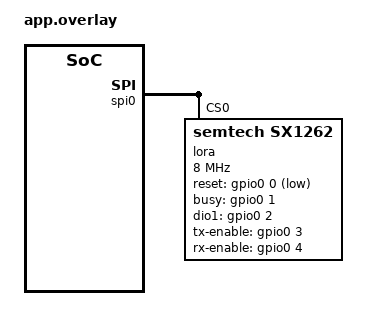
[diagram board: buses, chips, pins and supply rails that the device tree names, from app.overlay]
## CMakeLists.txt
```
# Copyright (c) 2026 Embeint Inc
# SPDX-License-Identifier: Apache-2.0

cmake_minimum_required(VERSION 3.20.0)
find_package(Zephyr REQUIRED HINTS $ENV{ZEPHYR_BASE})
project(lora_sx126x_emul)

target_sources(app PRIVATE src/main.c)
```

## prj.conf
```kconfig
# Copyright (c) 2026 Embeint Inc
# SPDX-License-Identifier: Apache-2.0

CONFIG_ZTEST=y
CONFIG_EMUL=y
CONFIG_GPIO=y
CONFIG_SPI=y
CONFIG_LORA=y
CONFIG_LORA_MODULE_BACKEND_NATIVE=y
CONFIG_LORA_GFSK=y
CONFIG_LOG=y
```

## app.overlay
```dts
/*
 * Copyright (c) 2026 Embeint Inc
 * SPDX-License-Identifier: Apache-2.0
 */

#include <zephyr/dt-bindings/lora/sx126x.h>

/ {
	aliases {
		lora0 = &lora;
	};
};

&spi0 {
	lora: lora@0 {
		compatible = "semtech,sx1262";
		reg = <0>;
		spi-max-frequency = <8000000>;
		reset-gpios = <&gpio0 0 GPIO_ACTIVE_LOW>;
		busy-gpios = <&gpio0 1 GPIO_ACTIVE_HIGH>;
		dio1-gpios = <&gpio0 2 GPIO_ACTIVE_HIGH>;
		tx-enable-gpios = <&gpio0 3 GPIO_ACTIVE_HIGH>;
		rx-enable-gpios = <&gpio0 4 GPIO_ACTIVE_HIGH>;
		dio3-tcxo-voltage = <SX126X_DIO3_TCXO_1V8>;
		tcxo-power-startup-delay-ms = <5>;
		rx-boosted;
		status = "okay";
	};
};
```

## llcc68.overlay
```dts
/*
 * Copyright (c) 2026 Embeint Inc
 * SPDX-License-Identifier: Apache-2.0
 */

&lora {
	compatible = "semtech,llcc68";
};
```

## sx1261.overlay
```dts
/*
 * Copyright (c) 2026 Embeint Inc
 * SPDX-License-Identifier: Apache-2.0
 */

&lora {
	compatible = "semtech,sx1261";
};
```

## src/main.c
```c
/*
 * Copyright (c) 2026 Embeint Inc
 * SPDX-License-Identifier: Apache-2.0
 */

#include <string.h>

#include <zephyr/device.h>
#include <zephyr/drivers/emul.h>
#include <zephyr/drivers/gpio.h>
#include <zephyr/drivers/gpio/gpio_emul.h>
#include <zephyr/drivers/lora.h>
#include <zephyr/drivers/lora/sx126x_emul.h>
#include <zephyr/drivers/spi.h>
#include <zephyr/dt-bindings/lora/sx126x.h>
#include <zephyr/sys/byteorder.h>
#include <zephyr/ztest.h>

#define LORA_NODE DT_ALIAS(lora0)
#define IS_SX1261 DT_NODE_HAS_COMPAT(LORA_NODE, semtech_sx1261)
#define IS_LLCC68 DT_NODE_HAS_COMPAT(LORA_NODE, semtech_llcc68)

#define REST_MODE                                                                                  \
	(IS_ENABLED(CONFIG_LORA_SX126X_NATIVE_SLEEP) ? SX126X_EMUL_MODE_SLEEP                      \
						     : SX126X_EMUL_MODE_STDBY_RC)

/* IRQs the driver routes to DIO1: TX done, RX done, CRC error and timeout */
#define DRIVER_IRQ_MASK (BIT(0) | BIT(1) | BIT(6) | BIT(9))

/* Register addresses from the datasheet */
#define REG_RETENTION_LIST 0x029F
#define REG_RX_GAIN        0x08AC
#define REG_TX_MODULATION  0x0889

/* Opcodes and IRQs from the datasheet */
#define OP_SET_STANDBY 0x80
#define OP_SET_TX      0x83
#define IRQ_TX_DONE    BIT(0)
#define IRQ_RX_DONE    BIT(1)

#define RX_GAIN_BOOSTED     0x96
#define TX_MODULATION_BIT   BIT(2)
#define IQ_POLARITY_BIT     BIT(2)
#define RAMP_200_US         0x04
#define GFSK_PULSE_BT_05    0x09
#define GFSK_PREAMBLE_DET_8 0x04
#define GFSK_CRC_2_BYTE_INV 0x06

static const struct device *const lora_dev = DEVICE_DT_GET(LORA_NODE);
static const struct emul *const lora_emul = EMUL_DT_GET(LORA_NODE);
static const struct gpio_dt_spec tx_enable = GPIO_DT_SPEC_GET(LORA_NODE, tx_enable_gpios);
static const struct gpio_dt_spec rx_enable = GPIO_DT_SPEC_GET(LORA_NODE, rx_enable_gpios);
static const struct gpio_dt_spec busy = GPIO_DT_SPEC_GET(LORA_NODE, busy_gpios);

/* Captured before the first test clears the counter */
static uint32_t boot_errors;

struct recv_ctx {
	struct k_sem sem;
	uint8_t data[SX126X_EMUL_MAX_PAYLOAD];
	uint16_t len;
	int16_t rssi;
	int8_t snr;
};

static void recv_cb(const struct device *dev, uint8_t *data, uint16_t size, int16_t rssi,
		    int8_t snr, void *user_data)
{
	struct recv_ctx *ctx = user_data;

	ARG_UNUSED(dev);

	memcpy(ctx->data, data, MIN(size, sizeof(ctx->data)));
	ctx->len = size;
	ctx->rssi = rssi;
	ctx->snr = snr;
	k_sem_give(&ctx->sem);
}

static void lora_cfg_default(struct lora_modem_config *cfg)
{
	*cfg = (struct lora_modem_config){
		.frequency = 868100000,
		.bandwidth = BW_125_KHZ,
		.datarate = SF_7,
		.coding_rate = CR_4_5,
		.preamble_len = 8,
		.tx_power = 14,
		.tx = true,
		.public_network = true,
	};
}

static void lora_configure_default(void)
{
	struct lora_modem_config cfg;

	lora_cfg_default(&cfg);
	zassert_ok(lora_config(lora_dev, &cfg));
}

static void rx_packet_queue(const char *payload, int16_t rssi, int8_t snr, bool crc_error)
{
	struct sx126x_emul_rx_packet pkt = {
		.len = strlen(payload),
		.rssi = rssi,
		.snr = snr,
		.crc_error = crc_error,
	};

	memcpy(pkt.data, payload, pkt.len);
	zassert_ok(sx126x_emul_rx_packet_set(lora_emul, &pkt));
}

/* Raises IRQs once, as the next instance of an opcode completes */
struct cmd_hook {
	uint8_t opcode;
	uint16_t irq;
	uint32_t seen;
	uint8_t params[4];
	bool fired;
};

static uint16_t cmd_hook_cb(const struct emul *target, uint8_t opcode, const uint8_t *params,
			    size_t len, void *user_data)
{
	struct cmd_hook *hook = user_data;

	ARG_UNUSED(target);

	if (opcode != hook->opcode) {
		return 0;
	}

	hook->seen++;
	memcpy(hook->params, params, MIN(len, sizeof(hook->params)));
	if (hook->fired) {
		return 0;
	}

	hook->fired = true;
	return hook->irq;
}

static void noop_work_handler(struct k_work *work)
{
	ARG_UNUSED(work);
}

/* Interrupt work left behind by the driver must not hold up the workqueue */
static void workq_assert_responsive(void)
{
	struct k_work work;
	struct k_work_sync sync;
	int64_t start = k_uptime_get();

	k_work_init(&work, noop_work_handler);
	zassert_true(k_work_submit(&work) >= 0);
	(void)k_work_flush(&work, &sync);
	zassert_true(k_uptime_get() - start < 100, "System workqueue stalled for %lld ms",
		     k_uptime_get() - start);
}

static void radio_assert_rested(void)
{
	/* Let any interrupt work still in flight finish */
	k_msleep(10);

	zassert_equal(sx126x_emul_mode_get(lora_emul), REST_MODE, "Radio in mode %d",
		      sx126x_emul_mode_get(lora_emul));
	zassert_equal(gpio_emul_output_get_dt(&tx_enable), 0, "TX path left enabled");
	zassert_equal(gpio_emul_output_get_dt(&rx_enable), 0, "RX path left enabled");
	zassert_equal(sx126x_emul_errors_get(lora_emul), 0, "Emulator reported protocol errors");
}

ZTEST(sx126x_emul, test_init)
{
	struct sx126x_emul_radio radio;
	uint8_t retention[5];

	zassert_equal(boot_errors, 0, "Protocol errors during driver init");

	sx126x_emul_radio_get(lora_emul, &radio);
	zassert_equal(radio.packet_type, SX126X_EMUL_PACKET_TYPE_LORA);
	zassert_true(radio.dcdc, "DC-DC regulator not selected");
	zassert_true(radio.tcxo, "TCXO not configured");
	zassert_equal(radio.tcxo_voltage, SX126X_DIO3_TCXO_1V8);
	zassert_false(radio.dio2_rf_switch);
	zassert_equal(radio.irq_mask, DRIVER_IRQ_MASK);
	zassert_equal(radio.dio1_mask, DRIVER_IRQ_MASK);

	/* RX gain and TX modulation survive warm-start sleep */
	zassert_ok(sx126x_emul_reg_read(lora_emul, REG_RETENTION_LIST, retention,
					sizeof(retention)));
	zassert_equal(retention[0], 2);
	zassert_equal(sys_get_be16(&retention[1]), REG_RX_GAIN);
	zassert_equal(sys_get_be16(&retention[3]), REG_TX_MODULATION);

	radio_assert_rested();
}

ZTEST(sx126x_emul, test_config_lora)
{
	struct lora_modem_config cfg;
	struct sx126x_emul_radio radio;

	lora_cfg_default(&cfg);
	zassert_ok(lora_config(lora_dev, &cfg));

	sx126x_emul_radio_get(lora_emul, &radio);
	zassert_equal(radio.packet_type, SX126X_EMUL_PACKET_TYPE_LORA);
	zassert_within(radio.frequency, 868100000, 1);
	zassert_equal(radio.lora.sf, 7);
	zassert_equal(radio.lora.bandwidth, 125000);
	zassert_equal(radio.lora.cr, 5);
	zassert_false(radio.lora.ldro);
	zassert_equal(radio.lora.sync_word, 0x3444);
	zassert_equal(radio.tx_power, 14);
	zassert_equal(radio.ramp_time, RAMP_200_US);
	if (IS_SX1261) {
		zassert_equal(radio.pa.duty_cycle, 0x04);
		zassert_equal(radio.pa.hp_max, 0x00);
		zassert_equal(radio.pa.device_sel, 1);
	} else {
		zassert_equal(radio.pa.duty_cycle, 0x04);
		zassert_equal(radio.pa.hp_max, 0x07);
		zassert_equal(radio.pa.device_sel, 0);
	}
	zassert_equal(radio.pa.pa_lut, 1);
	/* Read after the driver put the radio back to sleep: retained */
	zassert_equal(radio.rx_gain, RX_GAIN_BOOSTED);

	cfg.public_network = false;
	zassert_ok(lora_config(lora_dev, &cfg));
	sx126x_emul_radio_get(lora_emul, &radio);
	zassert_equal(radio.lora.sync_word, 0x1424);

	cfg.sync_word = 0x56;
	zassert_ok(lora_config(lora_dev, &cfg));
	sx126x_emul_radio_get(lora_emul, &radio);
	zassert_equal(radio.lora.sync_word, 0x5464);

	/* Output power is clamped to what the PA can deliver */
	cfg.tx_power = 30;
	zassert_ok(lora_config(lora_dev, &cfg));
	sx126x_emul_radio_get(lora_emul, &radio);
	zassert_equal(radio.tx_power, IS_SX1261 ? 14 : 22);

	if (!IS_LLCC68) {
		cfg.datarate = SF_12;
		zassert_ok(lora_config(lora_dev, &cfg));
		sx126x_emul_radio_get(lora_emul, &radio);
		zassert_equal(radio.lora.sf, 12);
		zassert_true(radio.lora.ldro, "LDRO required at SF12/125 kHz");
	} else {
		cfg.datarate = SF_12;
		zassert_equal(lora_config(lora_dev, &cfg), -EINVAL);
	}

	radio_assert_rested();
}

ZTEST(sx126x_emul, test_send)
{
	static const uint8_t payload[] = "hello sx126x";
	struct sx126x_emul_tx_packet pkt;
	struct sx126x_emul_stats stats;

	lora_configure_default();
	zassert_ok(lora_send(lora_dev, (uint8_t *)payload, sizeof(payload)));

	zassert_ok(sx126x_emul_last_tx_get(lora_emul, &pkt));
	zassert_equal(pkt.len, sizeof(payload));
	zassert_mem_equal(pkt.data, payload, sizeof(payload));
	zassert_equal(pkt.radio.packet_type, SX126X_EMUL_PACKET_TYPE_LORA);
	zassert_within(pkt.radio.frequency, 868100000, 1);
	zassert_equal(pkt.radio.lora.preamble_len, 8);
	zassert_false(pkt.radio.lora.implicit_header);
	zassert_equal(pkt.radio.lora.payload_len, sizeof(payload));
	zassert_true(pkt.radio.lora.crc);
	zassert_false(pkt.radio.lora.iq_inverted);
	zassert_true((pkt.radio.tx_modulation & TX_MODULATION_BIT) != 0);
	zassert_true((pkt.radio.iq_polarity & IQ_POLARITY_BIT) != 0);
	zassert_not_equal(pkt.timeout, 0, "No TX timeout armed");

	sx126x_emul_stats_get(lora_emul, &stats);
	zassert_equal(stats.tx_starts, 1);
	zassert_equal(stats.tx_done, 1);

	radio_assert_rested();
}

ZTEST(sx126x_emul, test_send_bw500)
{
	static const uint8_t payload[] = {0x01, 0x02, 0x03};
	struct lora_modem_config cfg;
	struct sx126x_emul_tx_packet pkt;

	lora_cfg_default(&cfg);
	cfg.bandwidth = BW_500_KHZ;
	zassert_ok(lora_config(lora_dev, &cfg));
	zassert_ok(lora_send(lora_dev, (uint8_t *)payload, sizeof(payload)));

	zassert_ok(sx126x_emul_last_tx_get(lora_emul, &pkt));
	zassert_equal(pkt.radio.lora.bandwidth, 500000);
	zassert_true((pkt.radio.tx_modulation & TX_MODULATION_BIT) == 0,
		     "500 kHz workaround not applied");

	radio_assert_rested();
}

ZTEST(sx126x_emul, test_send_implicit_header)
{
	static const uint8_t payload[] = {0xA0, 0xA1, 0xA2, 0xA3};
	struct lora_modem_config cfg;
	struct sx126x_emul_tx_packet pkt;

	lora_cfg_default(&cfg);
	cfg.explicit_header_disable = true;
	cfg.implicit_packet_length = sizeof(payload);
	zassert_ok(lora_config(lora_dev, &cfg));

	zassert_equal(lora_send(lora_dev, (uint8_t *)payload, sizeof(payload) - 1), -EINVAL);
	zassert_ok(lora_send(lora_dev, (uint8_t *)payload, sizeof(payload)));

	zassert_ok(sx126x_emul_last_tx_get(lora_emul, &pkt));
	zassert_true(pkt.radio.lora.implicit_header);
	zassert_equal(pkt.radio.lora.payload_len, sizeof(payload));
	zassert_mem_equal(pkt.data, payload, sizeof(payload));

	radio_assert_rested();
}

ZTEST(sx126x_emul, test_send_async)
{
	static const uint8_t payload[] = {0x10, 0x20, 0x30, 0x40, 0x50};
	struct k_poll_signal sig;
	struct k_poll_event evt =
		K_POLL_EVENT_INITIALIZER(K_POLL_TYPE_SIGNAL, K_POLL_MODE_NOTIFY_ONLY, &sig);
	unsigned int signaled;
	int result;

	k_poll_signal_init(&sig);
	lora_configure_default();

	zassert_ok(lora_send_async(lora_dev, (uint8_t *)payload, sizeof(payload), &sig));
	zassert_ok(k_poll(&evt, 1, K_SECONDS(1)));
	k_poll_signal_check(&sig, &signaled, &result);
	zassert_equal(signaled, 1);
	zassert_ok(result);

	radio_assert_rested();
}

ZTEST(sx126x_emul, test_recv)
{
	static const char payload[] = "downlink";
	struct lora_modem_config cfg;
	struct sx126x_emul_radio radio;
	uint8_t buf[32];
	int16_t rssi;
	int8_t snr;

	lora_cfg_default(&cfg);
	cfg.tx = false;
	cfg.iq_inverted = true;
	zassert_ok(lora_config(lora_dev, &cfg));

	rx_packet_queue(payload, -87, 6, false);
	zassert_equal(lora_recv(lora_dev, buf, sizeof(buf), K_SECONDS(1), &rssi, &snr),
		      strlen(payload));
	zassert_mem_equal(buf, payload, strlen(payload));
	zassert_equal(rssi, -87);
	zassert_equal(snr, 6);

	zassert_ok(sx126x_emul_last_rx_get(lora_emul, &radio));
	zassert_true(radio.lora.iq_inverted);
	zassert_true((radio.iq_polarity & IQ_POLARITY_BIT) == 0, "Inverted IQ workaround");
	zassert_equal(radio.rx_gain, RX_GAIN_BOOSTED, "RX gain lost across sleep");

	radio_assert_rested();
}

ZTEST(sx126x_emul, test_recv_timeout)
{
	uint8_t buf[16];

	lora_configure_default();
	zassert_equal(lora_recv(lora_dev, buf, sizeof(buf), K_MSEC(50), NULL, NULL), -EAGAIN);

	radio_assert_rested();
}

ZTEST(sx126x_emul, test_recv_crc_error)
{
	uint8_t buf[16];

	lora_configure_default();
	rx_packet_queue("corrupt", -100, -5, true);
	zassert_equal(lora_recv(lora_dev, buf, sizeof(buf), K_SECONDS(1), NULL, NULL), -EIO);

	radio_assert_rested();
}

ZTEST(sx126x_emul, test_recv_forever)
{
	static const char payload[] = "no timeout";
	uint8_t buf[16];

	lora_configure_default();
	rx_packet_queue(payload, -60, 10, false);
	zassert_equal(lora_recv(lora_dev, buf, sizeof(buf), K_FOREVER, NULL, NULL),
		      strlen(payload));
	zassert_mem_equal(buf, payload, strlen(payload));

	radio_assert_rested();
}

ZTEST(sx126x_emul, test_recv_async)
{
	static const char *const payloads[] = {"first", "second packet"};
	struct sx126x_emul_stats stats;
	struct recv_ctx ctx;

	k_sem_init(&ctx.sem, 0, 1);
	lora_configure_default();

	zassert_ok(lora_recv_async(lora_dev, recv_cb, &ctx));
	zassert_equal(sx126x_emul_mode_get(lora_emul), SX126X_EMUL_MODE_RX);
	zassert_equal(gpio_emul_output_get_dt(&rx_enable), 1, "RX path not enabled");
	zassert_equal(gpio_emul_output_get_dt(&tx_enable), 0, "TX path enabled while receiving");

	ARRAY_FOR_EACH(payloads, i) {
		rx_packet_queue(payloads[i], -70 - (int16_t)i, 5, false);
		zassert_ok(k_sem_take(&ctx.sem, K_SECONDS(1)), "Packet %zu not delivered", i);
		zassert_equal(ctx.len, strlen(payloads[i]));
		zassert_mem_equal(ctx.data, payloads[i], ctx.len);
		zassert_equal(ctx.rssi, -70 - (int16_t)i);
		zassert_equal(ctx.snr, 5);
	}

	/* A corrupted packet is dropped and reception continues */
	rx_packet_queue("bad", -70, 5, true);
	zassert_equal(k_sem_take(&ctx.sem, K_MSEC(50)), -EAGAIN);
	zassert_equal(sx126x_emul_mode_get(lora_emul), SX126X_EMUL_MODE_RX);

	/* Continuous reception carries on without being restarted */
	sx126x_emul_stats_get(lora_emul, &stats);
	zassert_equal(stats.rx_starts, 1);

	zassert_ok(lora_recv_async(lora_dev, NULL, NULL));

	radio_assert_rested();
}

ZTEST(sx126x_emul, test_rssi)
{
	struct recv_ctx ctx;
	int16_t rssi;

	k_sem_init(&ctx.sem, 0, 1);
	lora_configure_default();

	zassert_ok(lora_recv_async(lora_dev, recv_cb, &ctx));
	sx126x_emul_rssi_set(lora_emul, -95);
	zassert_ok(lora_rssi(lora_dev, &rssi));
	zassert_equal(rssi, -95);
	zassert_ok(lora_recv_async(lora_dev, NULL, NULL));

	sx126x_emul_rssi_set(lora_emul, -60);
	zassert_equal(lora_energy_detect(lora_dev, -80, K_MSEC(20)), 1);
	sx126x_emul_rssi_set(lora_emul, -110);
	zassert_equal(lora_energy_detect(lora_dev, -80, K_MSEC(20)), 0);

	radio_assert_rested();
}

ZTEST(sx126x_emul, test_duty_cycle)
{
	static const char payload[] = "wake up";
	struct sx126x_emul_stats stats;
	uint8_t buf[16];
	int16_t rssi;
	int8_t snr;

	lora_configure_default();
	rx_packet_queue(payload, -90, 3, false);
	zassert_equal(lora_recv_duty_cycle(lora_dev, K_MSEC(10), K_MSEC(90), buf, sizeof(buf),
					   K_SECONDS(1), &rssi, &snr),
		      strlen(payload));
	zassert_mem_equal(buf, payload, strlen(payload));
	zassert_equal(rssi, -90);
	zassert_equal(snr, 3);

	sx126x_emul_stats_get(lora_emul, &stats);
	zassert_equal(stats.rx_starts, 1);
	zassert_equal(stats.rx_done, 1);

	radio_assert_rested();
}

ZTEST(sx126x_emul, test_duty_cycle_timeout)
{
	uint8_t buf[16];

	lora_configure_default();
	zassert_equal(lora_recv_duty_cycle(lora_dev, K_MSEC(10), K_MSEC(90), buf, sizeof(buf),
					   K_MSEC(50), NULL, NULL),
		      -EAGAIN);

	radio_assert_rested();
}

ZTEST(sx126x_emul, test_duty_cycle_async)
{
	static const char *const payloads[] = {"one", "two"};
	struct sx126x_emul_stats stats;
	struct recv_ctx ctx;

	k_sem_init(&ctx.sem, 0, 1);
	lora_configure_default();

	zassert_ok(lora_recv_duty_cycle_async(lora_dev, K_MSEC(10), K_MSEC(90), recv_cb, &ctx));
	zassert_equal(sx126x_emul_mode_get(lora_emul), SX126X_EMUL_MODE_RX_DUTY_CYCLE);

	ARRAY_FOR_EACH(payloads, i) {
		rx_packet_queue(payloads[i], -75, 4, false);
		zassert_ok(k_sem_take(&ctx.sem, K_SECONDS(1)), "Packet %zu not delivered", i);
		zassert_equal(ctx.len, strlen(payloads[i]));
		zassert_mem_equal(ctx.data, payloads[i], ctx.len);
		/* The radio re-enters the duty cycle after every packet */
		k_msleep(5);
		zassert_equal(sx126x_emul_mode_get(lora_emul), SX126X_EMUL_MODE_RX_DUTY_CYCLE);
	}

	zassert_ok(lora_recv_duty_cycle_async(lora_dev, K_NO_WAIT, K_NO_WAIT, NULL, NULL));

	sx126x_emul_stats_get(lora_emul, &stats);
	zassert_equal(stats.rx_done, ARRAY_SIZE(payloads));

	radio_assert_rested();
}

ZTEST(sx126x_emul, test_cw)
{
	struct sx126x_emul_radio radio;

	lora_configure_default();
	zassert_ok(lora_test_cw(lora_dev, 868500000, 10, 1));

	sx126x_emul_radio_get(lora_emul, &radio);
	zassert_within(radio.frequency, 868500000, 1);
	zassert_equal(radio.tx_power, 10);

	radio_assert_rested();
}

ZTEST(sx126x_emul, test_gfsk)
{
	static const uint8_t payload[] = {0xDE, 0xAD, 0xBE, 0xEF, 0x42};
	struct lora_modem_config_gfsk cfg = {
		.frequency = 868300000,
		.bitrate = 50000,
		.freq_deviation = 25000,
		.bandwidth = 117300,
		.pulse_shape = LORA_GFSK_PULSE_SHAPE_BT_0_5,
		.sync_word = {0xC1, 0x94, 0xC1},
		.sync_word_len = 3,
		.preamble_len = 5,
		.tx_power = 14,
		.tx = true,
		.whitening = true,
	};
	struct sx126x_emul_tx_packet pkt;
	uint8_t buf[16];
	int16_t rssi;
	int8_t snr;

	Z_TEST_SKIP_IFNDEF(CONFIG_LORA_GFSK);

	zassert_ok(lora_config_gfsk(lora_dev, &cfg));
	zassert_ok(lora_send(lora_dev, (uint8_t *)payload, sizeof(payload)));

	zassert_ok(sx126x_emul_last_tx_get(lora_emul, &pkt));
	zassert_equal(pkt.radio.packet_type, SX126X_EMUL_PACKET_TYPE_GFSK);
	zassert_within(pkt.radio.frequency, 868300000, 1);
	zassert_equal(pkt.radio.gfsk.bitrate, 50000);
	zassert_within(pkt.radio.gfsk.freq_deviation, 25000, 1);
	zassert_equal(pkt.radio.gfsk.bandwidth, 117300);
	zassert_equal(pkt.radio.gfsk.pulse_shape, GFSK_PULSE_BT_05);
	zassert_equal(pkt.radio.gfsk.preamble_bits, 40);
	zassert_equal(pkt.radio.gfsk.preamble_detect, GFSK_PREAMBLE_DET_8);
	zassert_equal(pkt.radio.gfsk.sync_word_bits, 24);
	zassert_mem_equal(pkt.radio.gfsk.sync_word, cfg.sync_word, 3);
	zassert_true(pkt.radio.gfsk.variable_len);
	zassert_equal(pkt.radio.gfsk.payload_len, sizeof(payload));
	zassert_equal(pkt.radio.gfsk.crc_type, GFSK_CRC_2_BYTE_INV);
	zassert_equal(pkt.radio.gfsk.crc_init, 0x1D0F);
	zassert_equal(pkt.radio.gfsk.crc_poly, 0x1021);
	zassert_true(pkt.radio.gfsk.whitening);
	zassert_equal(pkt.radio.gfsk.whitening_init, 0x01FF);
	zassert_true((pkt.radio.tx_modulation & TX_MODULATION_BIT) != 0);
	zassert_equal(pkt.len, sizeof(payload));
	zassert_mem_equal(pkt.data, payload, sizeof(payload));

	rx_packet_queue("gfsk rx", -70, 0, false);
	zassert_equal(lora_recv(lora_dev, buf, sizeof(buf), K_SECONDS(1), &rssi, &snr),
		      strlen("gfsk rx"));
	zassert_mem_equal(buf, "gfsk rx", strlen("gfsk rx"));
	zassert_equal(rssi, -70);
	zassert_equal(snr, 0);

	/* Switching back to LoRa reselects the modem */
	lora_configure_default();
	zassert_ok(lora_send(lora_dev, (uint8_t *)payload, sizeof(payload)));
	zassert_ok(sx126x_emul_last_tx_get(lora_emul, &pkt));
	zassert_equal(pkt.radio.packet_type, SX126X_EMUL_PACKET_TYPE_LORA);

	radio_assert_rested();
}

ZTEST(sx126x_emul, test_emulator_flags_misuse)
{
	const struct spi_dt_spec spi =
		SPI_DT_SPEC_GET(LORA_NODE, SPI_WORD_SET(8) | SPI_TRANSFER_MSB);
	/* An opcode the radio does not have */
	uint8_t bogus[] = {0xFF};
	/* SetSleep, warm start */
	uint8_t sleep[] = {0x84, 0x04};
	struct spi_buf buf = {.buf = bogus, .len = sizeof(bogus)};
	struct spi_buf_set set = {.buffers = &buf, .count = 1};

	/*
	 * Asleep, the command is lost waking the radio; awake, it is
	 * rejected. Either way the emulator must notice.
	 */
	zassert_ok(spi_write_dt(&spi, &set));
	zassert_equal(sx126x_emul_errors_get(lora_emul), 1);
	sx126x_emul_errors_clear(lora_emul);

	if (IS_ENABLED(CONFIG_LORA_SX126X_NATIVE_SLEEP)) {
		/* Put the radio back to sleep behind the driver's back, once it has woken */
		zassert_true(WAIT_FOR(gpio_pin_get_dt(&busy) == 0, 100000, k_msleep(1)));
		buf.buf = sleep;
		buf.len = sizeof(sleep);
		zassert_ok(spi_write_dt(&spi, &set));
	}

	radio_assert_rested();
}

ZTEST(sx126x_emul, test_cmd_hook_observe)
{
	/* Static: the emulator may still call the hook once the test has returned */
	static struct cmd_hook hook;
	uint8_t payload[] = "observed";

	hook = (struct cmd_hook){.opcode = OP_SET_TX};
	lora_configure_default();
	sx126x_emul_cmd_cb_set(lora_emul, cmd_hook_cb, &hook);
	zassert_ok(lora_send(lora_dev, payload, sizeof(payload)));
	zassert_equal(hook.seen, 1);
	/* 10 s TX timeout in 15.625 us steps */
	zassert_equal(sys_get_be24(hook.params), 10000 * 64);

	radio_assert_rested();
}

ZTEST(sx126x_emul, test_irq_tx_done_on_set_tx)
{
	static struct cmd_hook hook;
	uint8_t payload[] = "instant";

	hook = (struct cmd_hook){.opcode = OP_SET_TX, .irq = IRQ_TX_DONE};
	/* The radio finishes before the driver has returned from SetTx */
	lora_configure_default();
	sx126x_emul_cmd_cb_set(lora_emul, cmd_hook_cb, &hook);
	zassert_ok(lora_send(lora_dev, payload, sizeof(payload)));
	zassert_true(hook.fired);

	radio_assert_rested();
}

ZTEST(sx126x_emul, test_irq_rx_done_while_stopping_async)
{
	static struct cmd_hook hook;
	uint8_t payload[] = "next";
	struct recv_ctx ctx;

	hook = (struct cmd_hook){.opcode = OP_SET_STANDBY, .irq = IRQ_RX_DONE};
	k_sem_init(&ctx.sem, 0, 1);
	lora_configure_default();
	zassert_ok(lora_recv_async(lora_dev, recv_cb, &ctx));

	/* A packet completes as the driver stops the radio */
	sx126x_emul_cmd_cb_set(lora_emul, cmd_hook_cb, &hook);
	zassert_ok(lora_recv_async(lora_dev, NULL, NULL));
	zassert_true(hook.fired);
	workq_assert_responsive();
	zassert_equal(k_sem_take(&ctx.sem, K_MSEC(50)), -EAGAIN, "Callback after stop");
	radio_assert_rested();

	/* The driver is still usable */
	zassert_ok(lora_send(lora_dev, payload, sizeof(payload)));

	radio_assert_rested();
}

ZTEST(sx126x_emul, test_irq_rx_done_during_recv_timeout)
{
	static struct cmd_hook hook;
	static const char payload[] = "fresh";
	uint8_t buf[16];

	hook = (struct cmd_hook){.opcode = OP_SET_STANDBY, .irq = IRQ_RX_DONE};
	/* A packet completes as the driver gives up waiting */
	lora_configure_default();
	sx126x_emul_cmd_cb_set(lora_emul, cmd_hook_cb, &hook);
	zassert_equal(lora_recv(lora_dev, buf, sizeof(buf), K_MSEC(50), NULL, NULL), -EAGAIN);
	zassert_true(hook.fired);
	workq_assert_responsive();
	radio_assert_rested();

	/* The next reception gets its own packet */
	rx_packet_queue(payload, -60, 10, false);
	zassert_equal(lora_recv(lora_dev, buf, sizeof(buf), K_SECONDS(1), NULL, NULL),
		      strlen(payload));
	zassert_mem_equal(buf, payload, strlen(payload));

	radio_assert_rested();
}

static void *sx126x_emul_setup(void)
{
	zassert_true(device_is_ready(lora_dev));
	boot_errors = sx126x_emul_errors_get(lora_emul);

	return NULL;
}

static void sx126x_emul_before(void *fixture)
{
	ARG_UNUSED(fixture);

	sx126x_emul_cmd_cb_set(lora_emul, NULL, NULL);
	sx126x_emul_errors_clear(lora_emul);
	sx126x_emul_stats_clear(lora_emul);
}

ZTEST_SUITE(sx126x_emul, NULL, sx126x_emul_setup, sx126x_emul_before, NULL, NULL);
```
